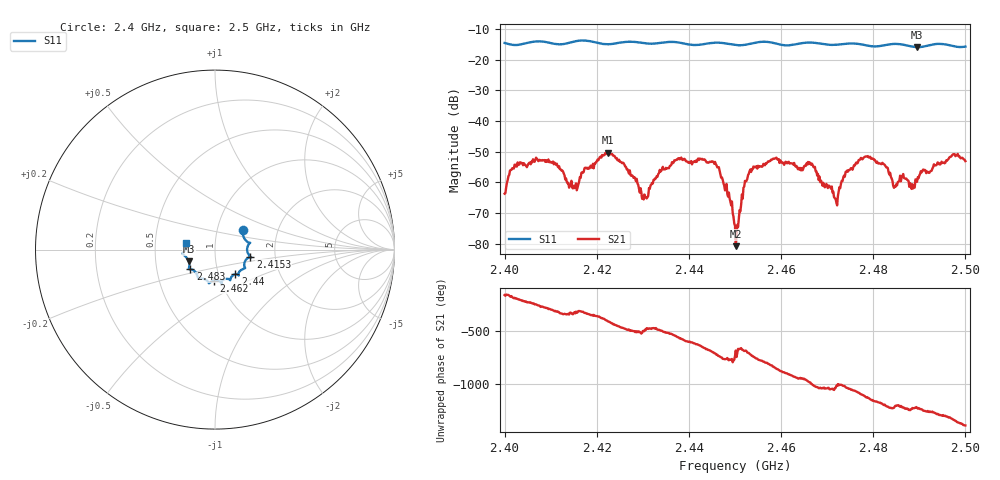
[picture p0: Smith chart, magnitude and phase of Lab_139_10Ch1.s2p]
# Hz S RI R 50
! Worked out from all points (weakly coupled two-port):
!   601 points, 2.4 GHz to 2.5 GHz, reference 50 ohm
!   highest |S21| = -50.27 dB at 2.4225 GHz (marker M1); lowest = -80.8 dB at 2.4502 GHz (marker M2)
!   lowest |S11| = -15.9 dB at 2.4895 GHz (marker M3), VSWR 1.38, Z = 36.9 - j4.99 ohm
!   |S11| at or under -10 dB: start of sweep to end of sweep
!   S12 and S22 are empty: the file has one direction only
!   S11 on the Smith chart (normalised r, x): 2.4 GHz: 1.33, +0.29; 2.4153 GHz: 1.48, -0.12; 2.44 GHz: 1.20, -0.34; 2.462 GHz: 0.93, -0.33; 2.483 GHz: 0.74, -0.17; 2.5 GHz: 0.72, +0.06
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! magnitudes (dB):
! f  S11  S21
! 2.4 GHz  -14.5  -63.7
! 2.4018 GHz  -15.1  -55.4
! 2.4072 GHz  -14.0  -52.6
! 2.4153 GHz  -14.0  -61.4
! 2.4167 GHz  -13.7  -56.9
! 2.4225 GHz  -14.9  -50.3
! 2.4303 GHz  -14.6  -63.9
! 2.4333 GHz  -14.6  -57.3
! 2.44 GHz  -15.0  -53.3
! 2.4462 GHz  -14.4  -55.1
! 2.45 GHz  -15.1  -74.1
! 2.4502 GHz  -15.2  -80.8
! 2.4537 GHz  -14.6  -55.6
! 2.462 GHz  -15.2  -53.7
! 2.4667 GHz  -14.4  -53.8
! 2.4718 GHz  -15.1  -65.3
! 2.4773 GHz  -14.9  -52.0
! 2.483 GHz  -15.1  -55.1
! 2.4833 GHz  -15.0  -56.7
! 2.4847 GHz  -14.8  -61.3
! 2.4895 GHz  -15.9  -59.8
! 2.5 GHz  -15.7  -53.0
